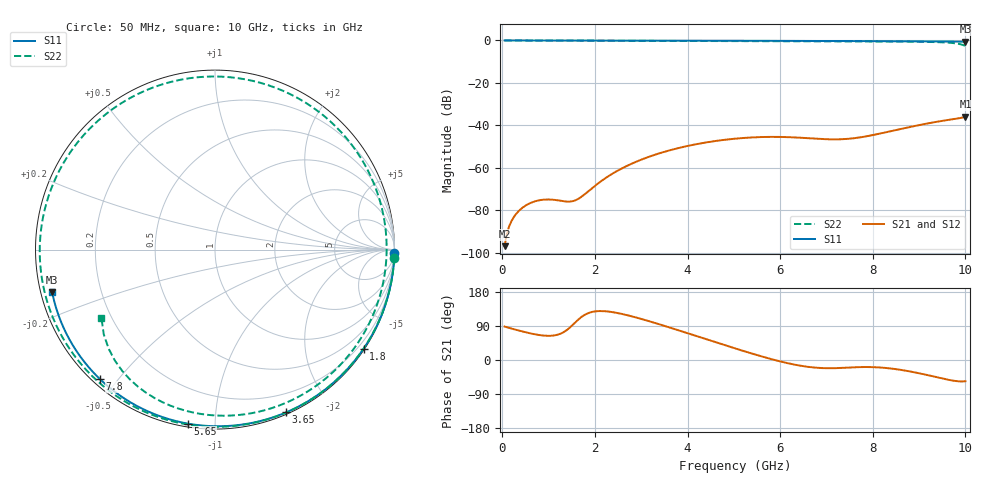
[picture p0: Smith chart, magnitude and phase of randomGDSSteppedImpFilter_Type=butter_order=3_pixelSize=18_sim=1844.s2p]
! freq	dB(S11)	phase(S11)	dB(S12)	phase(S12)
!  dB(S21)	phase(S21)	dB(S22)	phase(S22)
!S-par simulation data
#  GHz  S  DB  R 50
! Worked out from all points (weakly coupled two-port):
!   200 points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, 50 MHz to 10 GHz, reference 50 ohm
!   highest |S21| = -35.94 dB at 10 GHz (marker M1); lowest = -96.9 dB at 50 MHz (marker M2)
!   lowest |S11| = -0.6 dB at 10 GHz (marker M3), VSWR 31.29, Z = 1.62 - j6.46 ohm
!   |S11| at or under -10 dB: nowhere
!   |S22| runs from -2.6 to 0.0 dB; largest |S21 - S12| = 0
!   S11 on the Smith chart (normalised r, x): 50 MHz: open; 1.8 GHz: 0.03, -3.30; 3.65 GHz: 0.02, -1.53; 5.65 GHz: 0.02, -0.85; 7.8 GHz: 0.02, -0.45; 10 GHz: 0.03, -0.13
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0.05  -0.00 -1.0  -96.86 88.2  -96.86 88.2  -0.00 -2.6
0.35  -0.01 -6.7  -80.42 78.0  -80.42 78.0  -0.03 -18.4
0.65  -0.02 -12.3  -76.16 69.1  -76.16 69.1  -0.04 -33.9
0.95  -0.02 -17.9  -74.89 64.0  -74.89 64.0  -0.06 -49.3
1.5  -0.04 -28.2  -75.76 90.2  -75.76 90.2  -0.09 -76.5
1.75  -0.04 -32.8  -72.94 116.9  -72.94 116.9  -0.11 -88.5
1.8  -0.04 -33.7  -72.07 120.5  -72.07 120.5  -0.11 -90.9
2.55  -0.06 -47.2  -60.61 122.4  -60.61 122.4  -0.15 -125.6
3.4  -0.08 -62.1  -53.08 93.9  -53.08 93.9  -0.19 -163.7
3.65  -0.09 -66.4  -51.51 84.4  -51.51 84.4  -0.20 -174.9
4.35  -0.11 -78.1  -48.20 57.0  -48.20 57.0  -0.24 152.8
5.05  -0.14 -89.5  -46.20 29.7  -46.20 29.7  -0.28 118.8
5.65  -0.16 -99.0  -45.45 7.7  -45.45 7.7  -0.32 88.0
6.15  -0.19 -106.7  -45.51 -8.0  -45.51 -8.0  -0.34 61.5
6.7  -0.22 -115.1  -46.16 -19.5  -46.16 -19.5  -0.36 32.2
7.25  -0.26 -123.4  -46.56 -21.3  -46.56 -21.3  -0.38 3.6
7.8  -0.31 -131.7  -45.37 -18.6  -45.37 -18.6  -0.42 -23.6
8.35  -0.36 -139.9  -42.91 -21.9  -42.91 -21.9  -0.48 -49.5
8.9  -0.42 -148.2  -40.30 -32.5  -40.30 -32.5  -0.58 -75.0
9.4  -0.48 -155.9  -38.22 -45.9  -38.22 -45.9  -0.79 -100.2
9.75  -0.52 -161.3  -37.02 -54.8  -37.02 -54.8  -1.26 -123.2
10  -0.56 -165.3  -35.94 -56.0  -35.94 -56.0  -2.63 -148.9
